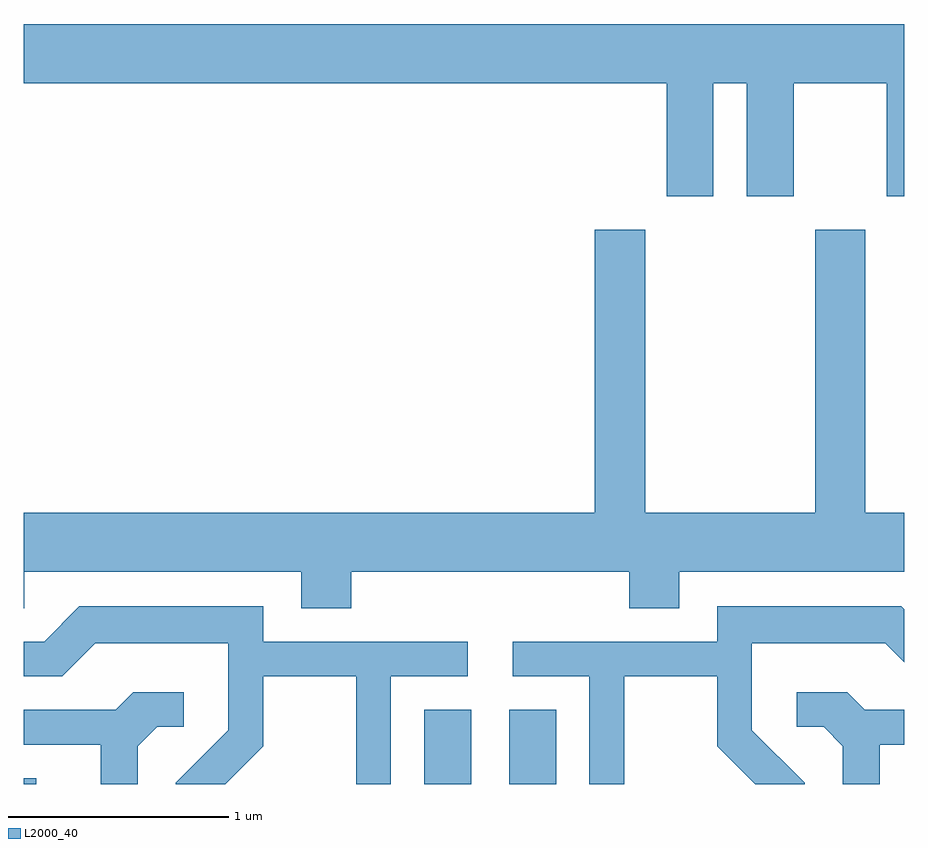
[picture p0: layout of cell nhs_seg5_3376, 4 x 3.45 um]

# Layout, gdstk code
import gdstk
lib = gdstk.Library(unit=1e-6, precision=1e-09)
def R(c, l, rs):  # rectangles x0, y0, x1, y1
    for r in rs: c.add(gdstk.rectangle(r[:2], r[2:], *l))
def P(c, l, *ps):  # polygons
    for p in ps: c.add(gdstk.Polygon(p, *l))
L2000_40 = (2000, 40)

nhs_seg5_3376 = lib.new_cell('nhs_seg5_3376')
R(nhs_seg5_3376, L2000_40, [(285.611,1438.072,285.669,1438.099), (287.431,1438.072,287.644,1438.409), (287.816,1438.072,288.029,1438.409)])
P(nhs_seg5_3376, L2000_40, [(288.744,1441.256),(288.896,1441.256),(288.896,1440.741),(289.109,1440.741),(289.109,1441.256),(289.531,1441.256),(289.531,1440.741),(289.611,1440.741),(289.611,1441.524),(285.611,1441.524),(285.611,1441.256),(288.531,1441.256),(288.531,1440.741),(288.744,1440.741)],
  [(285.614,1439.036),(286.871,1439.036),(286.871,1438.871),(287.099,1438.871),(287.099,1439.036),(288.361,1439.036),(288.361,1438.871),(288.589,1438.871),(288.589,1439.036),(289.611,1439.036),(289.611,1439.304),(289.434,1439.304),(289.434,1440.589),(289.206,1440.589),(289.206,1439.304),(288.434,1439.304),(288.434,1440.589),(288.206,1440.589),(288.206,1439.304),(285.611,1439.304),(285.611,1438.871),(285.614,1438.871)],
  [(288.339,1438.561),(288.761,1438.561),(288.761,1438.244),(288.933,1438.072),(289.159,1438.072),(289.159,1438.077),(288.919,1438.317),(288.919,1438.711),(289.524,1438.711),(289.611,1438.624),(289.611,1438.865),(289.597,1438.879),(288.761,1438.879),(288.761,1438.719),(287.833,1438.719),(287.833,1438.561),(288.181,1438.561),(288.181,1438.072),(288.339,1438.072)],
  [(286.699,1438.244),(286.699,1438.561),(287.121,1438.561),(287.121,1438.072),(287.279,1438.072),(287.279,1438.561),(287.628,1438.561),(287.628,1438.719),(286.699,1438.719),(286.699,1438.879),(285.864,1438.879),(285.704,1438.719),(285.611,1438.719),(285.611,1438.561),(285.787,1438.561),(285.937,1438.711),(286.541,1438.711),(286.541,1438.317),(286.301,1438.077),(286.301,1438.072),(286.527,1438.072)],
  [(289.499,1438.251),(289.611,1438.251),(289.611,1438.409),(289.432,1438.409),(289.352,1438.489),(289.123,1438.489),(289.123,1438.331),(289.244,1438.331),(289.331,1438.244),(289.331,1438.072),(289.499,1438.072)],
  [(286.129,1438.244),(286.217,1438.331),(286.338,1438.331),(286.338,1438.489),(286.109,1438.489),(286.029,1438.409),(285.611,1438.409),(285.611,1438.251),(285.961,1438.251),(285.961,1438.072),(286.129,1438.072)])

lib.write_gds('nhs_seg5_3376.gds')
